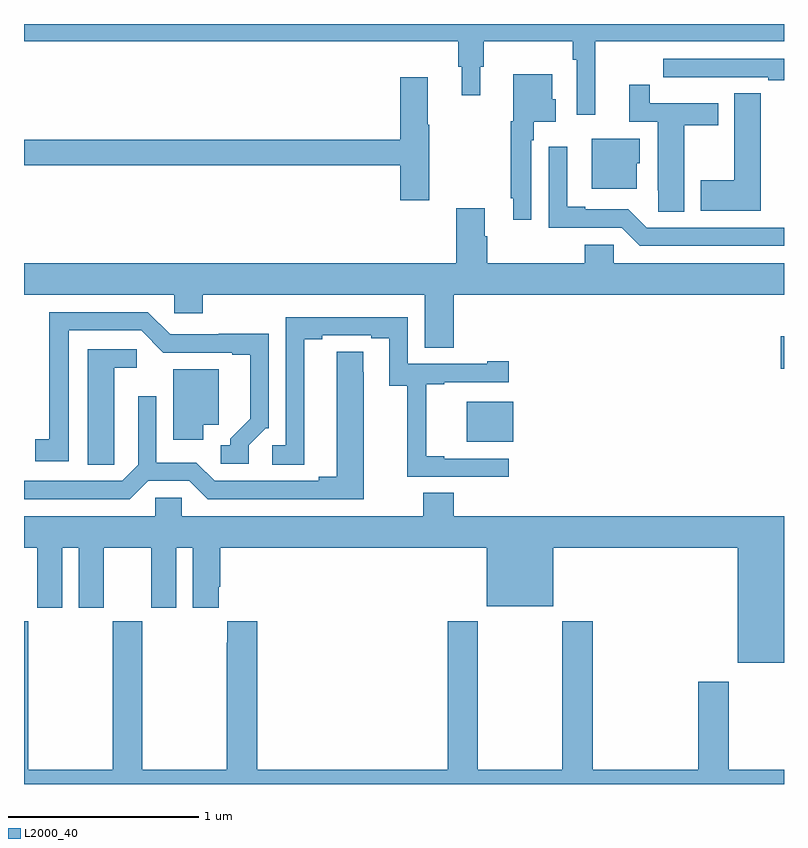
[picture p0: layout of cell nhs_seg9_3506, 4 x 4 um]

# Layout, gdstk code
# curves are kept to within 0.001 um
import gdstk
lib = gdstk.Library(unit=1e-6, precision=1e-09)
def R(c, l, rs):  # rectangles x0, y0, x1, y1
    for r in rs: c.add(gdstk.rectangle(r[:2], r[2:], *l))
def P(c, l, *ps):  # polygons
    for p in ps: c.add(gdstk.Polygon(p, *l))
L2000_40 = (2000, 40)

nhs_seg9_3506 = lib.new_cell('nhs_seg9_3506')
R(nhs_seg9_3506, L2000_40, [(313.331,1206.302,313.576,1206.511), (314.982,1206.686,315,1206.856)])
P(nhs_seg9_3506, L2000_40, [(314.006,1208.408),(315,1208.408),(315,1208.5),(311,1208.5),(311,1208.408),(313.285,1208.408),(313.285,1208.274),(313.304,1208.274),(313.304,1208.124),(313.402,1208.124),(313.402,1208.274),(313.421,1208.274),(313.421,1208.408),(313.888,1208.408),(313.888,1208.312),(313.908,1208.312),(313.908,1208.022),(314.006,1208.022)],
  [(315,1208.316),(314.364,1208.316),(314.364,1208.22),(314.476,1208.22),(314.476,1208.219),(314.642,1208.219),(314.642,1208.22),(314.918,1208.22),(314.918,1208.205),(315,1208.205)],
  [(313.671,1207.889),(313.684,1207.889),(313.684,1207.985),(313.798,1207.985),(313.798,1208.103),(313.78,1208.103),(313.78,1208.236),(313.574,1208.236),(313.574,1207.989),(313.563,1207.989),(313.563,1207.582),(313.574,1207.582),(313.574,1207.47),(313.671,1207.47)],
  [(313.134,1207.969),(313.126,1207.969),(313.126,1208.221),(312.98,1208.221),(312.98,1207.892),(311,1207.892),(311,1207.756),(312.98,1207.756),(312.98,1207.572),(313.134,1207.572)],
  [(314.476,1207.966),(314.653,1207.966),(314.653,1208.082),(314.294,1208.082),(314.294,1208.179),(314.186,1208.179),(314.186,1207.986),(314.336,1207.986),(314.336,1207.624),(314.337,1207.624),(314.337,1207.513),(314.476,1207.513)],
  [(314.878,1208.027),(314.877,1208.027),(314.877,1208.135),(314.738,1208.135),(314.738,1207.677),(314.561,1207.677),(314.561,1207.517),(314.878,1207.517)],
  [(314.224,1207.767),(314.242,1207.767),(314.242,1207.897),(313.988,1207.897),(313.988,1207.634),(314.224,1207.634)],
  [(315,1207.428),(314.277,1207.428),(314.181,1207.524),(313.954,1207.524),(313.954,1207.537),(313.858,1207.537),(313.858,1207.855),(313.761,1207.855),(313.761,1207.428),(314.145,1207.428),(314.241,1207.332),(315,1207.332)],
  [(313.262,1207.076),(315,1207.076),(315,1207.24),(314.103,1207.24),(314.103,1207.338),(313.952,1207.338),(313.952,1207.24),(313.439,1207.24),(313.439,1207.382),(313.426,1207.382),(313.426,1207.531),(313.274,1207.531),(313.274,1207.24),(311,1207.24),(311,1207.076),(311.79,1207.076),(311.79,1206.978),(311.942,1206.978),(311.942,1207.076),(313.109,1207.076),(313.109,1206.796),(313.262,1206.796)],
  [(312.183,1206.282),(312.273,1206.372),(312.288,1206.372),(312.288,1206.869),(312.025,1206.869),(312.025,1206.867),(311.769,1206.867),(311.652,1206.984),(311.132,1206.984),(311.132,1206.314),(311.058,1206.314),(311.058,1206.198),(311.236,1206.198),(311.236,1206.888),(311.616,1206.888),(311.733,1206.771),(312.095,1206.771),(312.095,1206.759),(312.191,1206.759),(312.191,1206.422),(312.086,1206.317),(312.086,1206.282),(312.036,1206.282),(312.036,1206.186),(312.183,1206.186)],
  [(313.552,1206.213),(313.213,1206.213),(313.213,1206.226),(313.118,1206.226),(313.118,1206.603),(313.213,1206.603),(313.213,1206.615),(313.552,1206.615),(313.552,1206.724),(313.439,1206.724),(313.439,1206.711),(313.02,1206.711),(313.02,1206.957),(312.378,1206.957),(312.378,1206.282),(312.306,1206.282),(312.306,1206.181),(312.475,1206.181),(312.475,1206.841),(312.571,1206.841),(312.571,1206.861),(312.827,1206.861),(312.827,1206.846),(312.923,1206.846),(312.923,1206.595),(313.018,1206.595),(313.018,1206.117),(313.552,1206.117)],
  [(311.475,1206.289),(311.476,1206.289),(311.476,1206.692),(311.593,1206.692),(311.593,1206.789),(311.336,1206.789),(311.336,1206.181),(311.475,1206.181)],
  [(311.653,1206.096),(311.871,1206.096),(311.967,1206),(312.787,1206),(312.786,1206.776),(312.647,1206.776),(312.647,1206.116),(312.551,1206.116),(312.551,1206.096),(312.003,1206.096),(311.907,1206.192),(311.697,1206.192),(311.697,1206.541),(311.601,1206.541),(311.601,1206.18),(311.517,1206.096),(311,1206.096),(311,1206),(311.557,1206)],
  [(311.944,1206.392),(312.025,1206.392),(312.025,1206.682),(311.786,1206.682),(311.786,1206.312),(311.944,1206.312)],
  [(315,1205.908),(313.262,1205.908),(313.262,1206.032),(313.102,1206.032),(313.102,1205.908),(311.829,1205.908),(311.829,1206.006),(311.691,1206.006),(311.691,1205.908),(311,1205.908),(311,1205.744),(311.069,1205.744),(311.069,1205.427),(311.2,1205.427),(311.2,1205.744),(311.288,1205.744),(311.288,1205.427),(311.419,1205.427),(311.419,1205.744),(311.669,1205.744),(311.669,1205.427),(311.8,1205.427),(311.8,1205.744),(311.888,1205.744),(311.888,1205.427),(312.025,1205.427),(312.025,1205.539),(312.032,1205.539),(312.032,1205.744),(313.436,1205.744),(313.436,1205.435),(313.786,1205.435),(313.786,1205.744),(314.756,1205.744),(314.756,1205.138),(315,1205.138)],
  [(315,1204.576),(314.709,1204.576),(314.709,1205.038),(314.549,1205.038),(314.549,1204.576),(313.994,1204.576),(313.994,1205.356),(313.834,1205.356),(313.834,1204.576),(313.389,1204.576),(313.389,1205.356),(313.229,1205.356),(313.229,1204.576),(312.227,1204.576),(312.227,1205.356),(312.071,1205.356),(312.071,1205.243),(312.067,1205.243),(312.067,1204.576),(311.622,1204.576),(311.622,1205.356),(311.467,1205.356),(311.467,1204.576),(311.022,1204.576),(311.022,1205.356),(311,1205.356),(311,1204.5),(315,1204.5)])

lib.write_gds('nhs_seg9_3506.gds')
